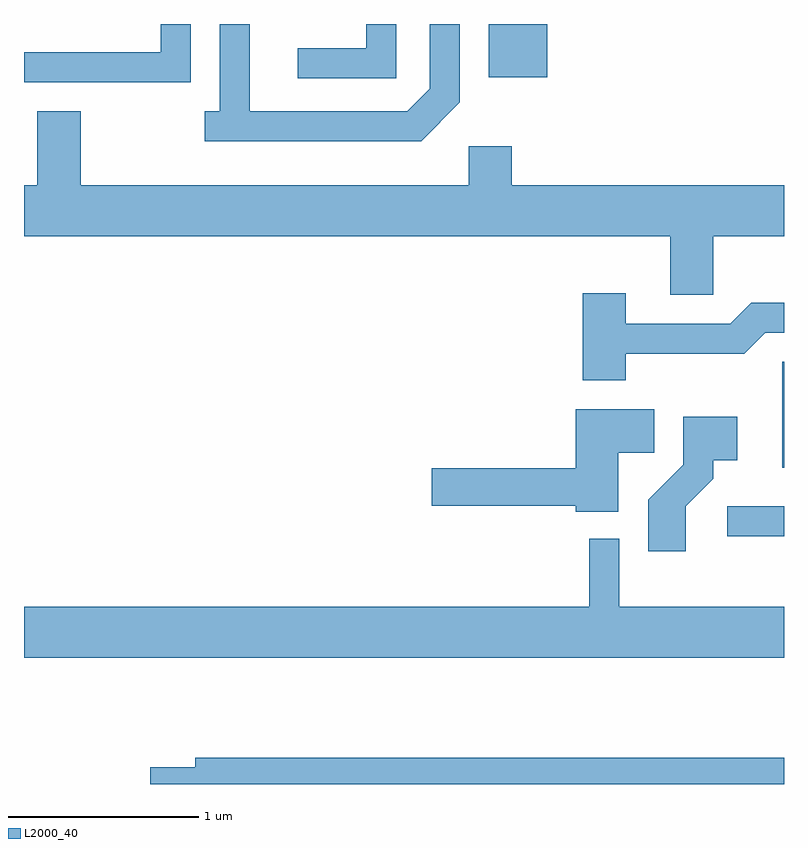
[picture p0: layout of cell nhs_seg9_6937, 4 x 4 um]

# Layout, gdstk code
import gdstk
lib = gdstk.Library(unit=1e-6, precision=1e-09)
def R(c, l, rs):  # rectangles x0, y0, x1, y1
    for r in rs: c.add(gdstk.rectangle(r[:2], r[2:], *l))
def P(c, l, *ps):  # polygons
    for p in ps: c.add(gdstk.Polygon(p, *l))
L2000_40 = (2000, 40)

nhs_seg9_6937 = lib.new_cell('nhs_seg9_6937')
R(nhs_seg9_6937, L2000_40, [(393.313,2045.736,393.611,2045.894), (393.601,2046.096,393.611,2046.654), (392.056,2048.151,392.364,2048.432)])
P(nhs_seg9_6937, L2000_40, [(390.489,2048.432),(390.331,2048.432),(390.331,2048.284),(389.611,2048.284),(389.611,2048.126),(390.489,2048.126)],
  [(391.904,2048.019),(391.904,2048.432),(391.746,2048.432),(391.746,2048.092),(391.629,2047.974),(390.799,2047.974),(390.799,2048.432),(390.641,2048.432),(390.641,2047.974),(390.563,2047.974),(390.563,2047.816),(391.702,2047.816)],
  [(391.569,2048.432),(391.411,2048.432),(391.411,2048.304),(391.053,2048.304),(391.053,2048.146),(391.569,2048.146)],
  [(393.239,2047.316),(393.611,2047.316),(393.611,2047.584),(392.179,2047.584),(392.179,2047.789),(391.951,2047.789),(391.951,2047.584),(389.909,2047.584),(389.909,2047.974),(389.681,2047.974),(389.681,2047.584),(389.611,2047.584),(389.611,2047.316),(393.011,2047.316),(393.011,2047.006),(393.239,2047.006)],
  [(392.779,2046.696),(393.402,2046.696),(393.512,2046.806),(393.611,2046.806),(393.611,2046.964),(393.439,2046.964),(393.329,2046.854),(392.779,2046.854),(392.779,2047.014),(392.551,2047.014),(392.551,2046.556),(392.779,2046.556)],
  [(392.739,2046.176),(392.929,2046.176),(392.929,2046.404),(392.516,2046.404),(392.516,2046.094),(391.756,2046.094),(391.756,2045.896),(392.516,2045.896),(392.516,2045.866),(392.739,2045.866)],
  [(393.094,2045.894),(393.239,2046.039),(393.239,2046.136),(393.364,2046.136),(393.364,2046.364),(393.081,2046.364),(393.081,2046.112),(392.896,2045.927),(392.896,2045.656),(393.094,2045.656)],
  [(393.611,2045.364),(392.744,2045.364),(392.744,2045.723),(392.586,2045.723),(392.586,2045.364),(389.611,2045.364),(389.611,2045.096),(393.611,2045.096)],
  [(393.611,2044.569),(390.511,2044.569),(390.511,2044.519),(390.276,2044.519),(390.276,2044.432),(393.611,2044.432)])

lib.write_gds('nhs_seg9_6937.gds')
